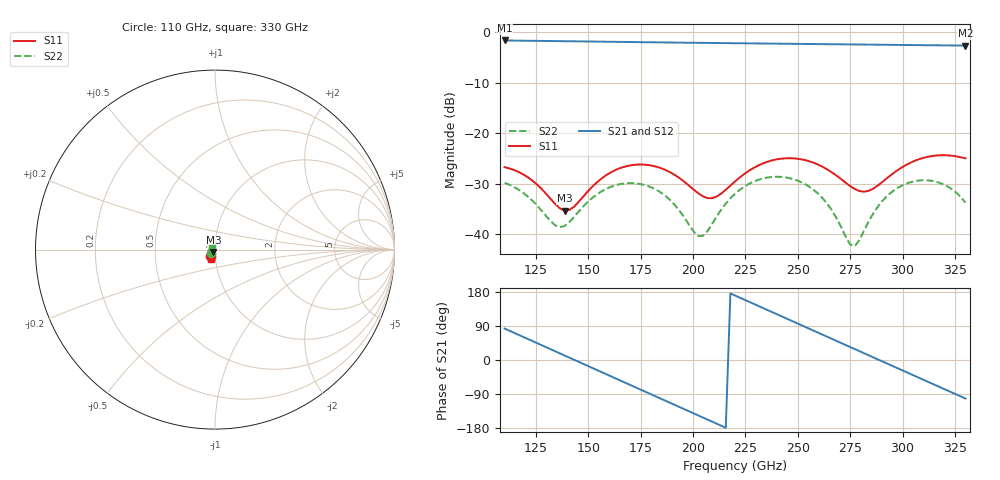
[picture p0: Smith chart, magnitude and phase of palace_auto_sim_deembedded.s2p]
! Created with skrf 1.11.0 (http://scikit-rf.org).
# GHz S DB R 50.0
!freq dBS11 angS11 dBS21 angS21 dBS12 angS12 dBS22 angS22
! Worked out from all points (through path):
!   101 points, 110 GHz to 330 GHz, reference 50 ohm
!   highest |S21| = -1.59 dB at 110 GHz (marker M1); lowest = -2.6 dB at 330 GHz (marker M2)
!   group delay of S21, straight-line fit = 6.88 ps
!   lowest |S11| = -35.3 dB at 138.6 GHz (marker M3), VSWR 1.03, Z = 49.1 - j1.45 ohm
!   |S11| at or under -10 dB: start of sweep to end of sweep
!   |S22| runs from -42.4 to -28.6 dB; largest |S21 - S12| = 9.3e-14
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110  -26.73 -123.9  -1.59 83.0  -1.59 83.0  -29.84 -140.3
123.2  -29.37 -142.7  -1.66 50.2  -1.66 50.2  -33.34 -160.1
134.2  -34.04 -136.9  -1.72 22.9  -1.72 22.9  -38.26 -146.2
138.6  -35.33 -120.2  -1.74 12.0  -1.74 12.0  -38.38 -127.2
147.4  -32.62 -90.7  -1.78 -9.9  -1.78 -9.9  -34.59 -110.6
156.2  -28.99 -90.5  -1.83 -31.7  -1.83 -31.7  -31.54 -118.5
167.2  -26.63 -104.0  -1.88 -59.0  -1.88 -59.0  -29.94 -137.8
176  -26.20 -117.3  -1.93 -80.8  -1.93 -80.8  -30.16 -154.8
184.8  -26.94 -129.5  -1.98 -102.6  -1.98 -102.6  -31.81 -170.3
202.4  -31.88 -130.5  -2.06 -146.2  -2.06 -146.2  -40.37 -153.1
209  -32.88 -111.0  -2.09 -162.5  -2.09 -162.5  -38.02 -117.8
220  -29.55 -89.7  -2.14 170.3  -2.14 170.3  -32.00 -117.3
228.8  -26.89 -92.9  -2.17 148.5  -2.17 148.5  -29.60 -132.2
239.8  -25.18 -105.6  -2.22 121.3  -2.22 121.3  -28.61 -154.5
248.6  -24.99 -117.3  -2.26 99.5  -2.26 99.5  -29.20 -172.7
257.4  -25.82 -127.9  -2.30 77.7  -2.30 77.7  -31.17 170.5
266.2  -27.74 -134.0  -2.34 56.0  -2.34 56.0  -35.24 159.9
277.2  -31.05 -123.3  -2.38 28.8  -2.38 28.8  -42.39 -154.1
283.8  -31.41 -103.9  -2.41 12.5  -2.41 12.5  -37.48 -122.0
294.8  -28.17 -86.9  -2.46 -14.7  -2.46 -14.7  -31.66 -130.7
314.6  -24.48 -100.5  -2.54 -63.6  -2.54 -63.6  -29.47 -172.9
330  -24.95 -114.2  -2.60 -101.6  -2.60 -101.6  -33.74 151.0
